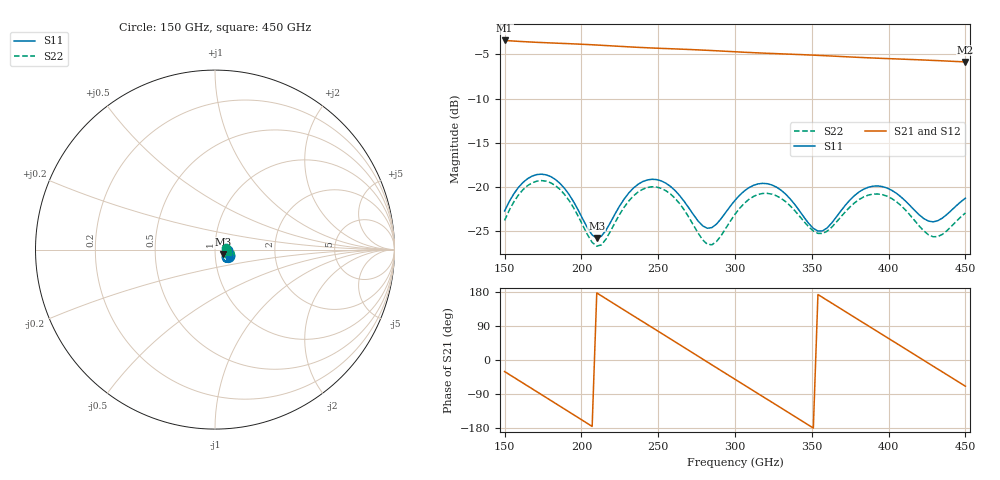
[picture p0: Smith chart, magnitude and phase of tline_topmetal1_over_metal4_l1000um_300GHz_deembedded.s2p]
! Created with skrf 2.0.1 (http://scikit-rf.org).
# GHz S DB R 50.0
!freq dBS11 angS11 dBS21 angS21 dBS12 angS12 dBS22 angS22
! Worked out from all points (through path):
!   101 points, 150 GHz to 450 GHz, reference 50 ohm
!   highest |S21| = -3.42 dB at 150 GHz (marker M1); lowest = -5.9 dB at 450 GHz (marker M2)
!   group delay of S21, straight-line fit = 7.02 ps
!   lowest |S11| = -25.8 dB at 210 GHz (marker M3), VSWR 1.11, Z = 54.6 - j2.78 ohm
!   |S11| at or under -10 dB: start of sweep to end of sweep
!   |S22| runs from -26.7 to -19.3 dB; largest |S21 - S12| = 7.2e-14
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150  -22.71 -0.2  -3.42 -30.5  -3.42 -30.5  -23.79 9.0
162  -19.49 -9.2  -3.55 -60.9  -3.55 -60.9  -20.30 0.5
174  -18.55 -26.2  -3.66 -91.3  -3.66 -91.3  -19.28 -16.2
186  -19.59 -42.8  -3.75 -121.8  -3.75 -121.8  -20.27 -32.6
201  -23.66 -48.8  -3.86 -160.0  -3.86 -160.0  -24.38 -38.9
210  -25.78 -29.6  -3.94 177.1  -3.94 177.1  -26.70 -19.6
222  -23.02 -7.4  -4.06 146.6  -4.06 146.6  -24.00 4.7
234  -20.10 -13.5  -4.18 116.2  -4.18 116.2  -21.00 -0.7
252  -19.32 -35.9  -4.32 70.7  -4.32 70.7  -20.16 -23.0
276  -23.86 -44.6  -4.49 9.9  -4.49 9.9  -25.23 -33.5
285  -24.59 -28.1  -4.57 -12.9  -4.57 -12.9  -26.54 -13.9
300  -21.51 -17.1  -4.70 -50.9  -4.70 -50.9  -23.09 3.0
312  -19.82 -26.9  -4.81 -81.2  -4.81 -81.2  -21.08 -5.8
324  -19.77 -40.6  -4.90 -111.4  -4.90 -111.4  -20.81 -18.9
339  -22.00 -52.3  -5.00 -149.3  -5.00 -149.3  -22.70 -30.2
351  -24.69 -43.8  -5.09 -179.7  -5.09 -179.7  -24.99 -23.3
363  -24.07 -22.6  -5.19 150.0  -5.19 150.0  -24.55 -5.5
378  -20.95 -22.0  -5.32 112.2  -5.32 112.2  -21.78 -4.9
390  -19.91 -33.2  -5.41 82.0  -5.41 82.0  -20.81 -15.9
402  -20.37 -44.9  -5.49 51.8  -5.49 51.8  -21.31 -28.1
426  -23.86 -41.6  -5.66 -8.7  -5.66 -8.7  -25.42 -27.0
450  -21.27 -27.4  -5.85 -69.2  -5.85 -69.2  -22.94 -9.1
